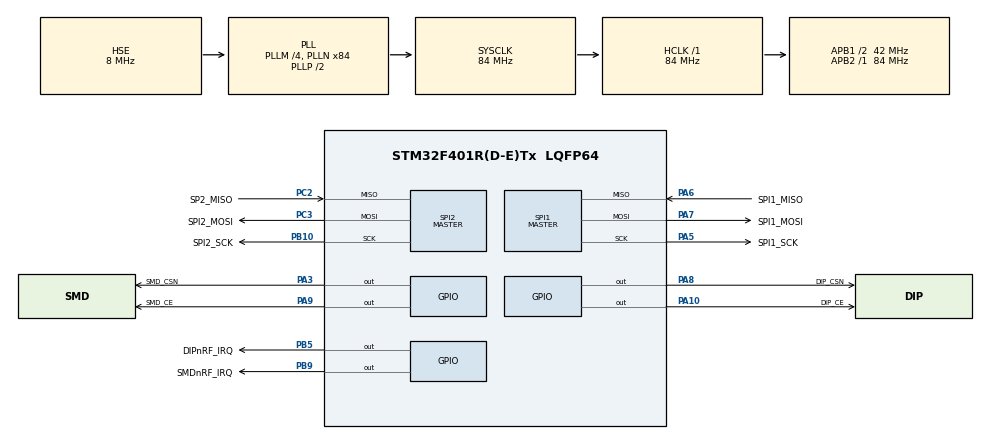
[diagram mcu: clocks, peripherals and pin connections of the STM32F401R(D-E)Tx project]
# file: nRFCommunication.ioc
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Mcu.Family=STM32F4
PC3.Mode=Full_Duplex_Master
RCC.PLLSourceVirtual=RCC_PLLSOURCE_HSE
PA6.Mode=Full_Duplex_Master
RCC.CortexFreq_Value=84000000
PA7.Mode=Full_Duplex_Master
PB9.GPIO_Label=SMDnRF_IRQ
SPI1.VirtualType=VM_MASTER
SPI2.VirtualType=VM_MASTER
PB10.Mode=Full_Duplex_Master
PA9.GPIO_Label=SMD_CE
PH1\ -\ OSC_OUT.Mode=HSE-External-Clock-Source
PC2.Signal=SPI2_MISO
PC2.Mode=Full_Duplex_Master
PA6.GPIO_Label=SPI1_MISO
RCC.APB1CLKDivider=RCC_HCLK_DIV2
RCC.SYSCLKSource=RCC_SYSCLKSOURCE_PLLCLK
ProjectManager.StackSize=0x400
PH0\ -\ OSC_IN.Mode=HSE-External-Clock-Source
PA8.GPIO_Label=DIP_CSN
PH0\ -\ OSC_IN.Signal=RCC_OSC_IN
ProjectManager.TargetToolchain=STM32CubeIDE
PB10.GPIO_Label=SPI2_SCK
SPI1.Direction=SPI_DIRECTION_2LINES
RCC.HCLKFreq_Value=84000000
RCC.APB2TimFreq_Value=84000000
PA9.Signal=GPIO_Output
PC3.Signal=SPI2_MOSI
RCC.LSE_VALUE=32768
RCC.AHBFreq_Value=84000000
SPI2.BaudRatePrescaler=SPI_BAUDRATEPRESCALER_16
PB10.Signal=SPI2_SCK
PA5.Signal=SPI1_SCK
RCC.HSE_VALUE=8000000
PH1\ -\ OSC_OUT.Signal=RCC_OSC_OUT
board=NUCLEO-F401RE
RCC.VCOOutputFreq_Value=168000000
NVIC.SPI1_IRQn=true\:0\:0\:false\:false\:true\:true\:true
RCC.APB2Freq_Value=84000000
SPI1.Mode=SPI_MODE_MASTER
PA10.GPIO_Label=DIP_CE
PA8.Signal=GPIO_Output
NVIC.SPI2_IRQn=true\:0\:0\:false\:false\:true\:true\:true
Mcu.Name=STM32F401R(D-E)Tx
RCC.48MHZClocksFreq_Value=24000000
RCC.SYSCLKFreq_VALUE=84000000
Mcu.Package=LQFP64
PB5.Signal=GPIO_Output
PB9.Signal=GPIO_Output
PA6.Signal=SPI1_MISO
PA7.GPIO_Label=SPI1_MOSI
SPI2.Mode=SPI_MODE_MASTER
PA5.GPIO_Label=SPI1_SCK
PA10.Signal=GPIO_Output
ProjectManager.HeapSize=0x200
RCC.HSI_VALUE=16000000
RCC.PLLQ=7
NVIC.PriorityGroup=NVIC_PRIORITYGROUP_0
PB5.GPIO_Label=DIPnRF_IRQ
RCC.PLLM=4
RCC.PLLN=84
RCC.APB1TimFreq_Value=84000000
PC3.GPIO_Label=SPI2_MOSI
SPI2.Direction=SPI_DIRECTION_2LINES
RCC.APB1Freq_Value=42000000
SPI1.BaudRatePrescaler=SPI_BAUDRATEPRESCALER_16
PC2.GPIO_Label=SP2_MISO
PA3.GPIO_Label=SMD_CSN
PA3.Signal=GPIO_Output
PA5.Mode=Full_Duplex_Master
PA7.Signal=SPI1_MOSI

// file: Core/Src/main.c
/* USER CODE BEGIN Header */
/**
 ******************************************************************************
 * @file           : main.c
 * @brief          : Main program body
 ******************************************************************************
 * @attention
 *
 * <h2><center>&copy; Copyright (c) 2021 STMicroelectronics.
 * All rights reserved.</center></h2>
 *
 * This software component is licensed by ST under BSD 3-Clause license,
 * the "License"; You may not use this file except in compliance with the
 * License. You may obtain a copy of the License at:
 *                        opensource.org/licenses/BSD-3-Clause
 *
 ******************************************************************************
 */
/* USER CODE END Header */
#include "main.h"

/* USER CODE BEGIN Includes */
#include "Register_Address.h"
//static uint64_t pipe0_reading_address;
//static uint8_t ack_payload_length;
/* USER CODE END Includes */

/* USER CODE BEGIN PTD */

#define CMD_TX_ADDR 0x10
#define CMD_RX_ADDR_P5 0x0F
uint8_t PWR_PRIM[2];
uint8_t ReceiveData[4];
uint8_t nRFReceiveDataBuffer[10];

#define W_TX_PAYLOAD 0xA0
#define REUSE_TX_PL 0xE3
#define NOP 0xFF
/* USER CODE END PTD */

SPI_HandleTypeDef hspi1;
SPI_HandleTypeDef hspi2;

/* USER CODE BEGIN PV */
uint8_t rxdata;
uint8_t BufferCnt = 0;
uint8_t NrfBuffer[255];
/* USER CODE END PV */

void SystemClock_Config(void);
static void MX_GPIO_Init(void);
static void MX_SPI1_Init(void);
static void MX_SPI2_Init(void);
/* USER CODE BEGIN PFP */
void HAL_SPI_RxCpltCallback(SPI_HandleTypeDef *hspi)
{
	if(hspi == &hspi2)
	{
		NrfBuffer[BufferCnt++] = rxdata;
		if(BufferCnt>254)
			BufferCnt = 0;
	}
	HAL_SPI_Receive_IT(&hspi2, &rxdata, 1);
}
/* USER CODE END PFP */

/* USER CODE BEGIN 0 */
void NRF24_DelayMicroSeconds(uint32_t uSec)
{
	uint32_t uSecVar = uSec;
	uSecVar = uSecVar* ((SystemCoreClock/1000000)/3);
	while(uSecVar--);
}
//SMD TRANSMİT.
void PinStatusSetter(uint16_t gpio_pin,int pin_state)
{
	HAL_GPIO_WritePin(GPIOA,gpio_pin , pin_state);
}

uint8_t Nrf24ReadRegisterSpi1(SPI_HandleTypeDef hspix,uint8_t reg)
{
	uint8_t spiBuf[3];
	uint8_t retData;
	//Put CSN low
	PinStatusSetter(DIP_CSN_Pin , 0);
	//Transmit register address
	spiBuf[0] = reg&0x1F;
	HAL_SPI_Transmit(&hspix, spiBuf, 1, 100);
	//Receive data
	HAL_SPI_Receive(&hspix, &spiBuf[1], 1, 100);
	retData = spiBuf[1];
	//Bring CSN high
	PinStatusSetter(DIP_CSN_Pin , 1);
	spiBuf[1] =0;
	return retData;
}
void Nrf24WriteRegisterSpi1(SPI_HandleTypeDef hspix,uint8_t reg, uint8_t value)
{
	uint8_t spiBuf[3];
	//Put CSN low
	PinStatusSetter(DIP_CSN_Pin , 0);
	//Transmit register address and data
	spiBuf[0] = reg|0x20;
	spiBuf[1] = value;
	HAL_SPI_Transmit(&hspix, spiBuf, 2, 100);
	//Bring CSN high
	PinStatusSetter(DIP_CSN_Pin ,1);
	spiBuf[1] = 0;
}
//Spi1'e bağlanan nRF24L01'in TX_ADDR Registerındaki 5 bytelik adresi okuyoruz.
void TxAddrReadSpi1(SPI_HandleTypeDef hspix,uint8_t reg ,uint8_t len)
{
	uint8_t Buf[3];
	uint8_t address[5];
	Buf[0] = reg&0x1F;

	PinStatusSetter(DIP_CSN_Pin ,0);
	HAL_SPI_Transmit(&hspix, &Buf[0], 1,100);
	HAL_SPI_Receive(&hspix, address, len,100);

	PinStatusSetter(DIP_CSN_Pin , 1);
}
//Spi1'e bağlanan nRF24L01'in TX_ADDR Registerına 5 bytelik değer veriyoruz.
void TxAddrSpi1(SPI_HandleTypeDef hspix ,uint8_t reg  ,uint8_t len)
{
	uint8_t Buf[1];

	uint8_t REG_TX_ADDR_VALUE[5];
	REG_TX_ADDR_VALUE[0] = 0x11,REG_TX_ADDR_VALUE[1] =0x11,REG_TX_ADDR_VALUE[2] =0x11,
			REG_TX_ADDR_VALUE[3] =0x11,REG_TX_ADDR_VALUE[4] =0x11;
	Buf[0] = reg|0x20;

	PinStatusSetter(DIP_CSN_Pin , 0);
	HAL_SPI_Transmit(&hspix, Buf, 2, 100);
	HAL_SPI_Transmit(&hspix, (uint8_t*)REG_TX_ADDR_VALUE, len, 100);
	PinStatusSetter(DIP_CSN_Pin , 1);
}
//SPI1'e bağladığımız nRF24L01'in RX_ADDR_P0 adresini yazıyoruz.
void RX_ADDR_P0_Write(SPI_HandleTypeDef hspix,uint8_t reg,uint8_t len)
{
	uint8_t Buf[1];
	Buf[0] = reg|0x20;
	uint8_t REG_RX_ADDR_P0_VALUE[5];

	REG_RX_ADDR_P0_VALUE[0] = 0x11,REG_RX_ADDR_P0_VALUE[1] =0x11,REG_RX_ADDR_P0_VALUE[2] =0x11,
			REG_RX_ADDR_P0_VALUE[3] =0x11,REG_RX_ADDR_P0_VALUE[4] =0x11;
	PinStatusSetter(DIP_CSN_Pin , 0);
	HAL_SPI_Transmit(&hspix, Buf, 1, 100);
	HAL_SPI_Transmit(&hspix,REG_RX_ADDR_P0_VALUE, len, 100);
	PinStatusSetter(DIP_CSN_Pin ,1);
}
//SPI1'e bağladığımız nRF24L01'in RX_ADDR_P0 adresini okuyoruz.
void RX_ADDR_P0_Read(SPI_HandleTypeDef hspix,uint8_t reg)
{
	uint8_t ReadBuf[5];
	uint8_t Buf[1];
	Buf[0] = reg&0x1F;
	PinStatusSetter(DIP_CSN_Pin , 0);
	HAL_SPI_Transmit(&hspix, Buf, 1, 100);
	HAL_SPI_Receive(&hspix, ReadBuf, 5 , 100);
	PinStatusSetter(DIP_CSN_Pin ,1);
}
//SPI2'ye bağlı nRF24L01'in data rate ve çıkış gücünü ayarlıyoruz.
void RfSetupSp1(SPI_HandleTypeDef hspix,uint8_t reg,uint8_t value)
{
	uint8_t spiBuf[3];
	//Put CSN low
	PinStatusSetter(DIP_CSN_Pin , 0);
	//Transmit register address and data
	spiBuf[0] = reg|0x20;
	spiBuf[1] = value;
	HAL_SPI_Transmit(&hspix, spiBuf, 2, 100);
	//Bring CSN high
	PinStatusSetter(DIP_CSN_Pin ,1);
	spiBuf[1] = 0;
}
//SPI2'ye bağlı nRF24L01'in data rate ve RF çıkış gücünü okuyoruz.
uint8_t RfSetupReadSp1(SPI_HandleTypeDef hspix,uint8_t reg)
{
	uint8_t spiBuf[3];
	uint8_t retData =0;
	//Put CSN low
	PinStatusSetter(DIP_CSN_Pin , 0);
	//Transmit register address
	spiBuf[0] = reg&0x1F;
	HAL_SPI_Transmit(&hspix, spiBuf, 1, 100);
	//Receive data
	HAL_SPI_Receive(&hspix, &spiBuf[1], 1, 100);
	retData = spiBuf[1];
	//Bring CSN high
	PinStatusSetter(DIP_CSN_Pin , 1);
	spiBuf[1] =0;
	return retData;
}
//Rf Sinyalini ayarlıyoruz.
void RfChSpi1(SPI_HandleTypeDef hspix,uint8_t reg,uint8_t value)
{
	uint8_t spiBuf[3];
	//Put CSN low
	PinStatusSetter(DIP_CSN_Pin , 0);
	//Transmit register address and data
	spiBuf[0] = reg|0x20;
	spiBuf[1] = value;
	HAL_SPI_Transmit(&hspix, spiBuf, 2, 100);
	//Bring CSN high
	PinStatusSetter(DIP_CSN_Pin ,1);
	spiBuf[1] = 0;
}
//Rf sinyalini okuyoruz.
uint8_t RfChReadSpi1(SPI_HandleTypeDef hspix,uint8_t reg)
{
	uint8_t spiBuf[3];
	uint8_t retData =0;
	//Put CSN low
	PinStatusSetter(DIP_CSN_Pin , 0);
	//Transmit register address
	spiBuf[0] = reg&0x1F;
	HAL_SPI_Transmit(&hspix, spiBuf, 1, 100);
	//Receive data
	HAL_SPI_Receive(&hspix, &spiBuf[1], 1, 100);
	retData = spiBuf[1];
	//Bring CSN high
	PinStatusSetter(DIP_CSN_Pin , 1);
	spiBuf[1] =0;
	return retData;
}
//Payload edeceğimiz datayı yazıyoruz.
void TxPayload(SPI_HandleTypeDef hspix,uint8_t reg)
{
	uint8_t pld[32] = "ELEKTRONIKBILISIMSISTEMLUHMANN";

	PinStatusSetter(DIP_CSN_Pin , 0);
	HAL_SPI_Transmit(&hspix, &reg, 1, 100);
	HAL_SPI_Transmit(&hspix, pld, 32, 100);
	PinStatusSetter(DIP_CSN_Pin , 1);

	PinStatusSetter(DIP_CE_Pin, 1);
	NRF24_DelayMicroSeconds(15);
}
//Otomatik Yeniden İletim Kurulumu
void SetupRetr(SPI_HandleTypeDef hspix ,uint8_t reg ,uint8_t deg)
{
	uint8_t Buf[3];
	Buf[0] = reg|0x20;
	Buf[1] = deg;
	PinStatusSetter(DIP_CSN_Pin , 0);
	HAL_SPI_Transmit(&hspix, Buf, 2, 100);
	PinStatusSetter(DIP_CSN_Pin , 1);
}
//Otomatik yeniden iletim durumu
void SetupRetrRead(SPI_HandleTypeDef hspix ,uint8_t reg)
{
	uint8_t Buf[2];
	Buf[0] = reg&0x1F;
	PinStatusSetter(DIP_CSN_Pin , 0);
	HAL_SPI_Transmit(&hspix, &Buf[0], 1, 100);
	HAL_SPI_Receive(&hspix, &Buf[1], 1, 100);
	PinStatusSetter(DIP_CSN_Pin , 1);
}
//Otomatik bilgilendimeyi aktif ediyoruz.
void EN_AA_Register(SPI_HandleTypeDef hspix,uint8_t reg ,uint8_t deg)
{
	uint8_t Buf[3];
	Buf[0] =  reg|0x20;
	Buf[1] = deg;
	PinStatusSetter(DIP_CSN_Pin ,0);
	HAL_SPI_Transmit(&hspix, Buf, 2, 100);
	PinStatusSetter(DIP_CSN_Pin ,1);
}
//Otomatik bilgilendirme registerini okuoyoruz.
void EN_AA_RegisterRead(SPI_HandleTypeDef hspix,uint8_t reg)
{
	uint8_t Buf[2];
	Buf[0] = reg&0x1F;
	PinStatusSetter(DIP_CSN_Pin , 0);
	HAL_SPI_Transmit(&hspix, &Buf[0], 1, 100);
	HAL_SPI_Receive(&hspix, &Buf[1], 1, 100);
	PinStatusSetter(DIP_CSN_Pin , 1);
}
//SPI1 ye bağlı Nrf24l01 lerin Rx Adreslerini enable ediyoruz.
void En_RxAddressSpi1(SPI_HandleTypeDef hspix,uint8_t reg,uint8_t value)
{
	uint8_t spiBuf[3];
	//Put CSN low
	PinStatusSetter(DIP_CSN_Pin , 0);
	//Transmit register address and data
	spiBuf[0] = reg|0x20;
	spiBuf[1] = value;
	HAL_SPI_Transmit(&hspix, spiBuf, 2, 100);
	//Bring CSN high
	PinStatusSetter(DIP_CSN_Pin ,1);
	spiBuf[1] = 0;
}
//SPI1 ye bağlı Nrf24l01 lerin Rx Adreslerini okuyoruz.
uint8_t En_RxReadAddressSpi1(SPI_HandleTypeDef hspix,uint8_t reg)
{
	uint8_t spiBuf[3];
	uint8_t retData =0;
	//Put CSN low
	PinStatusSetter(DIP_CSN_Pin , 0);
	//Transmit register address
	spiBuf[0] = reg&0x1F;
	HAL_SPI_Transmit(&hspix, spiBuf, 1, 100);
	//Receive data
	HAL_SPI_Receive(&hspix, &spiBuf[1], 1, 100);
	retData = spiBuf[1];
	//Bring CSN high
	PinStatusSetter(DIP_CSN_Pin , 1);
	spiBuf[1] =0;
	return retData;
}
//Ack değerini okuyoruz.
void RxAdrP0AckRead(SPI_HandleTypeDef hspix)
{
	uint8_t ACK_ReadData[10];
	PinStatusSetter(SMD_CE_Pin, 1);
	NRF24_DelayMicroSeconds(150);
	uint8_t AckRead = CMD_R_RX_PAYLOAD;

	PinStatusSetter(DIP_CSN_Pin , 0);
	HAL_SPI_Transmit(&hspix, &AckRead, 1, 100);
	HAL_SPI_Receive(&hspix, ACK_ReadData, 10, 100);
	PinStatusSetter(DIP_CSN_Pin , 1);
	PinStatusSetter(SMD_CE_Pin, 0);

}
//Tx İnitializasyon
void Nrf24InitTx()
{
	Nrf24WriteRegisterSpi1(hspi1,0x00,0x0A);
	Nrf24ReadRegisterSpi1(hspi1,0x00);
	TxAddrSpi1(hspi1 ,10 ,5);
	TxAddrReadSpi1(hspi1, 10 ,5);
	RX_ADDR_P0_Write(hspi1,0x0A,5);
	RX_ADDR_P0_Read(hspi1 ,0x0A);
	EN_AA_Register(hspi1,0x01,0x3F);
	EN_AA_RegisterRead(hspi1, 0x01);
	En_RxAddressSpi1(hspi1, 0x02, 0x3F);
	En_RxReadAddressSpi1(hspi1, 0x02);
	SetupRetr(hspi1 ,0x04 ,0x00);
	SetupRetrRead(hspi1 ,0x04);
	RfSetupSp1(hspi1, 0x06, 0x0E);
	RfSetupReadSp1(hspi1, 0x06);
	RfChSpi1(hspi1, 0x05, 0x02);
	RfChReadSpi1(hspi1, 0x05);

}
//Prim ve power pinlerini ayarlıyoruz.
void Nrf24PrimPowerRegisterSpi2(SPI_HandleTypeDef hspix,uint8_t reg ,uint8_t deg)
{
	uint8_t Buf[3];
	Buf[0] = reg|20;
	Buf[1] = deg;
	PinStatusSetter(SMD_CSN_Pin, 0);
	HAL_SPI_Transmit(&hspix, Buf, 2, 100);
	PinStatusSetter(SMD_CSN_Pin, 1);
}
//Prim ve power bitlerini okuyoruz.
uint8_t Nrf24PrinPowerRegisterReadSpi2(SPI_HandleTypeDef hspix,uint8_t reg)
{
	uint8_t regdata;
	uint8_t Buf[2];
	Buf[0] = reg&0x1F;

	PinStatusSetter(SMD_CSN_Pin, 0);
	HAL_SPI_Transmit(&hspix, &Buf[0], 1, 100);
	HAL_SPI_Receive(&hspix, &Buf[1], 1, 100);
	regdata =Buf[1];
	PinStatusSetter(SMD_CSN_Pin, 1);

	return regdata;
}
//SPI2 ye bağlı Nrf24l01 lerin Rx Adreslerini enable ediyoruz.
void NRF24_EN_RXADDR_SMD(SPI_HandleTypeDef hspix,uint8_t reg,uint8_t deg)
{
	uint8_t Buf[3];
	Buf[0] = reg|20;
	Buf[1] = deg;
	PinStatusSetter(SMD_CSN_Pin, 0);
	HAL_SPI_Transmit(&hspix, Buf, 2, 100);
	PinStatusSetter(SMD_CSN_Pin, 1);
}
//SPI2 ye bağlı Nrf24l01 lerin Rx Adreslerini okuyoruz.
uint8_t NRF24_EN_RXADDR_READ_SMD(SPI_HandleTypeDef hspix,uint8_t reg)
{
	uint8_t Buf[2];
	Buf[0] = reg&0x1F;
	uint8_t retdata;

	PinStatusSetter(SMD_CSN_Pin, 0);
	HAL_SPI_Transmit(&hspix, &Buf[0], 1, 100);
	HAL_SPI_Receive(&hspix, &Buf[1], 1, 100);
	PinStatusSetter(SMD_CSN_Pin, 1);
	retdata = Buf[1];

	return retdata;
}
//Otomatik bilgilendirme registerini ayarlıyoruz.
void EN_AA_Smd(SPI_HandleTypeDef hspix,uint8_t reg,uint8_t deg)
{
	uint8_t Buf[3];
	Buf[0] = reg|20;
	Buf[1] = deg;
	PinStatusSetter(SMD_CSN_Pin, 0);
	HAL_SPI_Transmit(&hspix, Buf, 2, 100);
	PinStatusSetter(SMD_CSN_Pin, 1);
}
//Otomatik bilgilendirme registerini ayarlıyoruz.
void EN_AA_ReadSmd(SPI_HandleTypeDef hspix,uint8_t reg)
{
	uint8_t Buf[2];
	Buf[0] = reg&0x1F;

	PinStatusSetter(SMD_CSN_Pin, 0);
	HAL_SPI_Transmit(&hspix, &Buf[0], 1, 100);
	HAL_SPI_Receive(&hspix, &Buf[1], 1, 100);
	PinStatusSetter(SMD_CSN_Pin, 1);

}
//Yük genişliklerini ayarlıyoruz.
void RxPwP0Spi2(SPI_HandleTypeDef hspix,uint8_t reg,uint8_t deg)
{
	uint8_t Buf[3];
	Buf[0] = reg|20;
	Buf[1] = deg;
	PinStatusSetter(SMD_CSN_Pin, 0);
	HAL_SPI_Transmit(&hspix, Buf, 2, 100);
	PinStatusSetter(SMD_CSN_Pin, 1);
}
//Yük genişligini ayarladıktan sonra test ediyoruz.
uint8_t RwPwP0ReadSpi2(SPI_HandleTypeDef hspix,uint8_t reg)
{
	uint8_t Buf[2];
	Buf[0] = reg&0x1F;
	uint8_t retdata;

	PinStatusSetter(SMD_CSN_Pin, 0);
	HAL_SPI_Transmit(&hspix, &Buf[0], 1, 100);
	HAL_SPI_Receive(&hspix, &Buf[1], 1, 100);
	PinStatusSetter(SMD_CSN_Pin, 1);
	retdata = Buf[1];

	return retdata;
}
//Otomatik bilgilendirme için Tx cihazının Rx pipe 5'i ayarlıyoruz.
void RX_ADDR_P5_SMD(SPI_HandleTypeDef hspix ,uint8_t reg  ,uint8_t len)
{
	uint8_t Buf[1];

	uint8_t RX_ADDR_P5_VALUE[5];
	RX_ADDR_P5_VALUE[0] = 0x11,RX_ADDR_P5_VALUE[1] =0x11,RX_ADDR_P5_VALUE[2] =0x11,
			RX_ADDR_P5_VALUE[3] =0x11,RX_ADDR_P5_VALUE[4] =0x11;
	Buf[0] = reg|0x20;

	PinStatusSetter(SMD_CSN_Pin, 0);
	HAL_SPI_Transmit(&hspix, Buf, 1, 100);
	HAL_SPI_Transmit(&hspix, (uint8_t*)RX_ADDR_P5_VALUE, len, 100);
	PinStatusSetter(SMD_CSN_Pin, 1);
}
//Otomatik bilgilendirme için Tx cihazının Rx pipe 5'i okuyoruz.
void RX_ADDR_P5_READ_SMD(SPI_HandleTypeDef hspix ,uint8_t reg)
{
	uint8_t Buf[3];
	Buf[0] = reg&0x1F;
	uint8_t retbuf[5];

	PinStatusSetter(SMD_CSN_Pin, 0);
	HAL_SPI_Transmit(&hspix, Buf, 1, 100);
	HAL_SPI_Receive(&hspix, retbuf, 5, 100);
	PinStatusSetter(SMD_CSN_Pin, 1);
}
//Spi2 ye bağlı nRF24L01'in frekans ayarlarını yapıyoruz.
void RfChSpi2(SPI_HandleTypeDef hspix,uint8_t reg,uint8_t value)
{
	uint8_t spiBuf[3];
	//Put CSN low
	PinStatusSetter(SMD_CSN_Pin , 0);
	//Transmit register address and data
	spiBuf[0] = reg|0x20;
	spiBuf[1] = value;
	HAL_SPI_Transmit(&hspix, spiBuf, 2, 100);
	//Bring CSN high
	PinStatusSetter(SMD_CSN_Pin ,1);
	spiBuf[1] = 0;
}
//Spi2 ye bağlı nRF24L01'in frekans ayarlarını okuyoruz.
uint8_t RfChReadSpi2(SPI_HandleTypeDef hspix,uint8_t reg)
{
	uint8_t spiBu[3];
	uint8_t retData = 0;
	//Put CSN low
	PinStatusSetter(SMD_CSN_Pin , 0);
	//Transmit register address
	spiBu[0] = reg&0x1F;
	HAL_SPI_Transmit(&hspix, spiBu, 1, 100);
	//Receive data
	HAL_SPI_Receive(&hspix, &spiBu[1], 1, 100);
	retData = spiBu[1];
	//Bring CSN high
	PinStatusSetter(SMD_CSN_Pin , 1);
	spiBu[1] =0;
	return retData;
}
//SPI2'ye bağlı nRF24L01'in data rate ve çıkış gücünü ayarlıyoruz.
void RfSetupSp2(SPI_HandleTypeDef hspix,uint8_t reg,uint8_t value)
{
	uint8_t spiBuf[3];
	//Put CSN low
	PinStatusSetter(SMD_CSN_Pin , 0);
	//Transmit register address and data
	spiBuf[0] = reg|0x20;
	spiBuf[1] = value;
	HAL_SPI_Transmit(&hspix, spiBuf, 2, 100);
	//Bring CSN high
	PinStatusSetter(SMD_CSN_Pin ,1);
	spiBuf[1] = 0;
}
//SPI2'ye bağlı nRF24L01'in data rate ve RF çıkış gücünü okuyoruz.
uint8_t RfSetupReadSp2(SPI_HandleTypeDef hspix,uint8_t reg)
{
	uint8_t spiBu[3];
	uint8_t retData = 0;
	//Put CSN low
	PinStatusSetter(SMD_CSN_Pin , 0);
	//Transmit register address
	spiBu[0] = reg&0x1F;
	HAL_SPI_Transmit(&hspix, spiBu, 1, 100);
	//Receive data
	HAL_SPI_Receive(&hspix, &spiBu[1], 1, 100);
	retData = spiBu[1];
	//Bring CSN high
	PinStatusSetter(SMD_CSN_Pin , 1);
	spiBu[1] =0;
	return retData;
}
//R_RX_PAYLOAD registerine kaydedilen datayı okuyoruz.
void R_RxPayload(SPI_HandleTypeDef hspix ,uint8_t reg)
{
	PinStatusSetter(SMD_CE_Pin, 1);
	NRF24_DelayMicroSeconds(150);
	uint8_t Data[32];

	PinStatusSetter(SMD_CSN_Pin, 0);
	HAL_SPI_Transmit(&hspix, &reg, 1, 100);
	HAL_SPI_Receive(&hspix, Data,32,100);
	PinStatusSetter(SMD_CSN_Pin, 1);
	PinStatusSetter(SMD_CE_Pin, 0);
}
//Rx İnitializasyon
void nRF24_Init_Rx()
{
	Nrf24PrimPowerRegisterSpi2(hspi2 ,0x00 ,0x0B);
	Nrf24PrinPowerRegisterReadSpi2(hspi2, 0x00);
	NRF24_EN_RXADDR_SMD(hspi2, 0x02, 0x03);
	NRF24_EN_RXADDR_READ_SMD(hspi2, 0x02);
	EN_AA_Smd(hspi2, 0X01, 0x3F);
	EN_AA_ReadSmd(hspi2, 0X01);
	RxPwP0Spi2(hspi2, 0x11, 0x1F);
	RwPwP0ReadSpi2(hspi2, 0x11);
	RX_ADDR_P5_SMD(hspi2 ,0x0F ,5);
	RX_ADDR_P5_READ_SMD(hspi2 ,0x0F);
	RfChSpi2(hspi2,0x05, 0x02);
	RfChReadSpi2(hspi2, 0x05);
	RfSetupSp2(hspi2, 0x06, 0x0E);
	RfSetupReadSp2(hspi2, 0X06);
	TxPayload(hspi1,0xA0);
	R_RxPayload(hspi2 ,0x61);
}
/* USER CODE END 0 */

int main(void)
{

  /* MCU Configuration--------------------------------------------------------*/

  /* Reset of all peripherals, Initializes the Flash interface and the Systick. */
  HAL_Init();

  /* Configure the system clock */
  SystemClock_Config();

  /* USER CODE BEGIN SysInit */
	PinStatusSetter(SMD_CSN_Pin, 1);
	PinStatusSetter(SMD_CE_Pin, 0);

	PinStatusSetter(DIP_CSN_Pin, 1);
	PinStatusSetter(DIP_CE_Pin ,0);

  /* USER CODE END SysInit */

  /* Initialize all configured peripherals */
  MX_GPIO_Init();
  MX_SPI1_Init();
  MX_SPI2_Init();
  /* USER CODE BEGIN 2 */
	//HAL_SPI_Receive_IT(&hspi2, &rxdata, 1);
	Nrf24InitTx();
	nRF24_Init_Rx();
    RxAdrP0AckRead( hspi1);
  /* USER CODE END 2 */

  /* Infinite loop */
  /* USER CODE BEGIN WHILE */
	while (1)
	{

		HAL_Delay(1);
    /* USER CODE END WHILE */

	}
}

void SystemClock_Config(void)
{
  RCC_OscInitTypeDef RCC_OscInitStruct = {0};
  RCC_ClkInitTypeDef RCC_ClkInitStruct = {0};

  /** Configure the main internal regulator output voltage
  */
  __HAL_RCC_PWR_CLK_ENABLE();
  __HAL_PWR_VOLTAGESCALING_CONFIG(PWR_REGULATOR_VOLTAGE_SCALE2);
  /** Initializes the RCC Oscillators according to the specified parameters
  * in the RCC_OscInitTypeDef structure.
  */
  RCC_OscInitStruct.OscillatorType = RCC_OSCILLATORTYPE_HSE;
  RCC_OscInitStruct.HSEState = RCC_HSE_BYPASS;
  RCC_OscInitStruct.PLL.PLLState = RCC_PLL_ON;
  RCC_OscInitStruct.PLL.PLLSource = RCC_PLLSOURCE_HSE;
  RCC_OscInitStruct.PLL.PLLM = 4;
  RCC_OscInitStruct.PLL.PLLN = 84;
  RCC_OscInitStruct.PLL.PLLP = RCC_PLLP_DIV2;
  RCC_OscInitStruct.PLL.PLLQ = 7;
  if (HAL_RCC_OscConfig(&RCC_OscInitStruct) != HAL_OK)
  {
    Error_Handler();
  }
  /** Initializes the CPU, AHB and APB buses clocks
  */
  RCC_ClkInitStruct.ClockType = RCC_CLOCKTYPE_HCLK|RCC_CLOCKTYPE_SYSCLK
                              |RCC_CLOCKTYPE_PCLK1|RCC_CLOCKTYPE_PCLK2;
  RCC_ClkInitStruct.SYSCLKSource = RCC_SYSCLKSOURCE_PLLCLK;
  RCC_ClkInitStruct.AHBCLKDivider = RCC_SYSCLK_DIV1;
  RCC_ClkInitStruct.APB1CLKDivider = RCC_HCLK_DIV2;
  RCC_ClkInitStruct.APB2CLKDivider = RCC_HCLK_DIV1;

  if (HAL_RCC_ClockConfig(&RCC_ClkInitStruct, FLASH_LATENCY_2) != HAL_OK)
  {
    Error_Handler();
  }
}

static void MX_SPI1_Init(void)
{

  /* SPI1 parameter configuration*/
  hspi1.Instance = SPI1;
  hspi1.Init.Mode = SPI_MODE_MASTER;
  hspi1.Init.Direction = SPI_DIRECTION_2LINES;
  hspi1.Init.DataSize = SPI_DATASIZE_8BIT;
  hspi1.Init.CLKPolarity = SPI_POLARITY_LOW;
  hspi1.Init.CLKPhase = SPI_PHASE_1EDGE;
  hspi1.Init.NSS = SPI_NSS_SOFT;
  hspi1.Init.BaudRatePrescaler = SPI_BAUDRATEPRESCALER_16;
  hspi1.Init.FirstBit = SPI_FIRSTBIT_MSB;
  hspi1.Init.TIMode = SPI_TIMODE_DISABLE;
  hspi1.Init.CRCCalculation = SPI_CRCCALCULATION_DISABLE;
  hspi1.Init.CRCPolynomial = 10;
  if (HAL_SPI_Init(&hspi1) != HAL_OK)
  {
    Error_Handler();
  }

}

static void MX_SPI2_Init(void)
{

  /* SPI2 parameter configuration*/
  hspi2.Instance = SPI2;
  hspi2.Init.Mode = SPI_MODE_SLAVE;
  hspi2.Init.Direction = SPI_DIRECTION_2LINES;
  hspi2.Init.DataSize = SPI_DATASIZE_8BIT;
  hspi2.Init.CLKPolarity = SPI_POLARITY_LOW;
  hspi2.Init.CLKPhase = SPI_PHASE_1EDGE;
  hspi2.Init.NSS = SPI_NSS_SOFT;
  hspi2.Init.BaudRatePrescaler = SPI_BAUDRATEPRESCALER_16;
  hspi2.Init.FirstBit = SPI_FIRSTBIT_MSB;
  hspi2.Init.TIMode = SPI_TIMODE_DISABLE;
  hspi2.Init.CRCCalculation = SPI_CRCCALCULATION_DISABLE;
  hspi2.Init.CRCPolynomial = 10;
  if (HAL_SPI_Init(&hspi2) != HAL_OK)
  {
    Error_Handler();
  }

}

static void MX_GPIO_Init(void)
{
  GPIO_InitTypeDef GPIO_InitStruct = {0};

  /* GPIO Ports Clock Enable */
  __HAL_RCC_GPIOH_CLK_ENABLE();
  __HAL_RCC_GPIOC_CLK_ENABLE();
  __HAL_RCC_GPIOA_CLK_ENABLE();
  __HAL_RCC_GPIOB_CLK_ENABLE();

  /*Configure GPIO pin Output Level */
  HAL_GPIO_WritePin(GPIOA, SMD_CSN_Pin|DIP_CSN_Pin|SMD_CE_Pin|DIP_CE_Pin, GPIO_PIN_RESET);

  /*Configure GPIO pin Output Level */
  HAL_GPIO_WritePin(GPIOB, DIPnRF_IRQ_Pin|SMDnRF_IRQ_Pin, GPIO_PIN_RESET);

  /*Configure GPIO pins : SMD_CSN_Pin DIP_CSN_Pin SMD_CE_Pin DIP_CE_Pin */
  GPIO_InitStruct.Pin = SMD_CSN_Pin|DIP_CSN_Pin|SMD_CE_Pin|DIP_CE_Pin;
  GPIO_InitStruct.Mode = GPIO_MODE_OUTPUT_PP;
  GPIO_InitStruct.Pull = GPIO_NOPULL;
  GPIO_InitStruct.Speed = GPIO_SPEED_FREQ_LOW;
  HAL_GPIO_Init(GPIOA, &GPIO_InitStruct);

  /*Configure GPIO pins : DIPnRF_IRQ_Pin SMDnRF_IRQ_Pin */
  GPIO_InitStruct.Pin = DIPnRF_IRQ_Pin|SMDnRF_IRQ_Pin;
  GPIO_InitStruct.Mode = GPIO_MODE_OUTPUT_PP;
  GPIO_InitStruct.Pull = GPIO_NOPULL;
  GPIO_InitStruct.Speed = GPIO_SPEED_FREQ_LOW;
  HAL_GPIO_Init(GPIOB, &GPIO_InitStruct);

}

void Error_Handler(void)
{
	__disable_irq();
	while (1)
	{
	}
}

/************************ (C) COPYRIGHT STMicroelectronics *****END OF FILE****/
